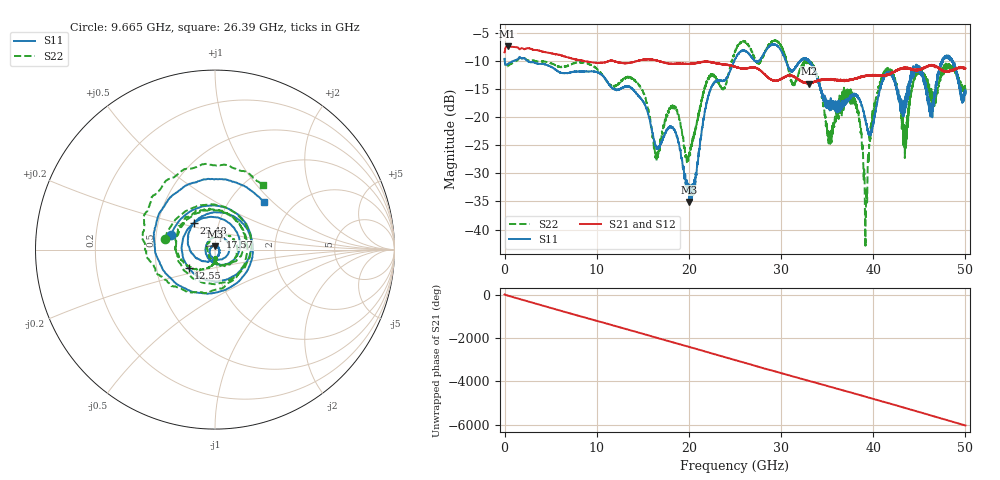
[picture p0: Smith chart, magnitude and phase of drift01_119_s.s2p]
!Created with skrf (http://scikit-rf.org).
# Hz S RI R 50.0
!freq ReS11 ImS11 ReS21 ImS21 ReS12 ImS12 ReS22 ImS22
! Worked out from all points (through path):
!   10001 points, 300 kHz to 50 GHz, reference 50 ohm
!   highest |S21| = -7.33 dB at 325.3 MHz (marker M1); lowest = -14.0 dB at 33.02 GHz (marker M2)
!   group delay of S21, straight-line fit = 335 ps
!   lowest |S11| = -35.1 dB at 20.01 GHz (marker M3), VSWR 1.04, Z = 49.9 + j1.75 ohm
!   |S11| at or under -10 dB: 2.554 GHz to 24.9 GHz (22.35 GHz wide, 163 % of centre); 30.53 GHz to 32.02 GHz (1.485 GHz wide, 4.75 % of centre); 33.06 GHz to 47.43 GHz (14.37 GHz wide, 35.7 % of centre) (the widest 3 of 26)
!   |S22| runs from -43.0 to -6.3 dB; largest |S21 - S12| = 0.011
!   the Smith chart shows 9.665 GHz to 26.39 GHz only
!   S11 on the Smith chart (normalised r, x): 9.665 GHz: 0.60, +0.11; 12.55 GHz: 0.73, -0.16; 17.57 GHz: 1.05, +0.15; 22.48 GHz: 0.76, +0.23; 26.39 GHz: 1.43, +0.88
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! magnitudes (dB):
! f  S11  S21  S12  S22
! 300 kHz  -9.6  -8.4  -8.5  -9.5
! 325.3 MHz  -10.5  -7.3  -7.3  -10.9
! 8.335 GHz  -11.8  -9.9  -9.8  -10.2
! 9.665 GHz  -11.8  -10.2  -10.2  -10.9
! 12.55 GHz  -14.9  -10.2  -10.2  -13.6
! 16.67 GHz  -25.6  -9.9  -9.9  -27.1
! 17.57 GHz  -22.3  -10.4  -10.3  -19.4
! 20.01 GHz  -35.1  -10.5  -10.4  -26.7
! 22.48 GHz  -14.5  -10.2  -10.2  -12.6
! 25 GHz  -9.6  -11.0  -11.0  -8.2
! 26.39 GHz  -8.4  -11.2  -11.2  -6.9
! 33.02 GHz  -9.9  -14.0  -13.9  -9.9
! 33.34 GHz  -10.7  -13.8  -13.8  -10.6
! 35.25 GHz  -17.5  -13.2  -13.3  -23.5
! 37.98 GHz  -16.0  -13.1  -13.1  -17.0
! 39.17 GHz  -20.6  -12.7  -12.6  -40.5
! 40.14 GHz  -19.8  -12.5  -12.5  -17.9
! 41.67 GHz  -11.9  -12.3  -12.3  -11.8
! 43.45 GHz  -17.5  -11.2  -11.2  -24.3
! 44.88 GHz  -10.9  -11.5  -11.5  -12.1
! 46.25 GHz  -19.1  -10.8  -10.8  -15.8
! 50 GHz  -15.7  -11.3  -11.3  -15.0
